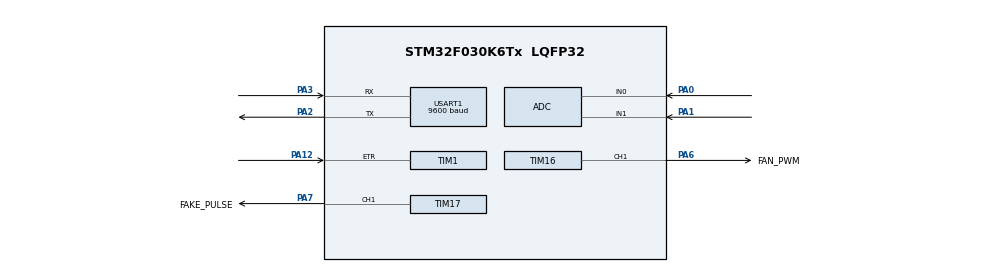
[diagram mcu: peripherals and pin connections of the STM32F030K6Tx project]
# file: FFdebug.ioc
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Mcu.Family=STM32F0
NVIC.TIM14_IRQn=true\:0\:0\:true\:false\:true\:true\:true
TIM17.Prescaler=40
VP_TIM17_VS_ClockSourceINT.Mode=Enable_Timer
Dma.ADC.0.Mode=DMA_CIRCULAR
TIM14.AutoReloadPreload=TIM_AUTORELOAD_PRELOAD_ENABLE
SH.S_TIM1_ETR.0=TIM1_ETR,ClockSourceETR_Mode2
USART1.BaudRate=9600
Dma.ADC.0.Priority=DMA_PRIORITY_LOW
SH.S_TIM16_CH1.0=TIM16_CH1,PWM Generation1 CH1
VP_TIM16_VS_ClockSourceINT.Mode=Enable_Timer
PA6.GPIO_Label=FAN_PWM
TIM16.Channel=TIM_CHANNEL_1
ProjectManager.StackSize=0x400
Dma.ADC.0.PeriphDataAlignment=DMA_PDATAALIGN_HALFWORD
PA7.GPIO_ModeDefaultPP=GPIO_MODE_AF_OD
USART1.VirtualMode-Asynchronous=VM_ASYNC
PA3.Mode=Asynchronous
TIM1.AutoReloadPreload=TIM_AUTORELOAD_PRELOAD_ENABLE
PA12.Signal=S_TIM1_ETR
ProjectManager.TargetToolchain=Makefile
Dma.ADC.0.PeriphInc=DMA_PINC_DISABLE
PA1.Signal=ADC_IN1
Dma.ADC.0.Direction=DMA_PERIPH_TO_MEMORY
ADC.SamplingTime=ADC_SAMPLETIME_239CYCLES_5
ADC.DMAContinuousRequests=ENABLE
board=custom
TIM17.Channel=TIM_CHANNEL_1
TIM14.Period=4000
TIM17.Period=1000-1
TIM16.Period=1000-1
PA1.Mode=IN1
PA0.Mode=IN0
Mcu.Name=STM32F030K6Tx
TIM14.Prescaler=1000 - 1
PA2.Signal=USART1_TX
PA0.Signal=ADC_IN0
ADC.Overrun=ADC_OVR_DATA_OVERWRITTEN
Dma.ADC.0.MemInc=DMA_MINC_ENABLE
Mcu.Package=LQFP32
PA6.Signal=S_TIM16_CH1
PA7.GPIO_Label=FAKE_PULSE
Dma.ADC.0.Instance=DMA1_Channel1
ProjectManager.HeapSize=0x200
SH.S_TIM17_CH1.0=TIM17_CH1,PWM Generation1 CH1
Dma.ADC.0.MemDataAlignment=DMA_MDATAALIGN_HALFWORD
PA2.Mode=Asynchronous
VP_TIM14_VS_ClockSourceINT.Mode=Enable_Timer
NVIC.DMA1_Channel1_IRQn=true\:3\:0\:true\:false\:true\:false\:true
TIM16.Prescaler=320
Dma.Request0=ADC
ADC.ContinuousConvMode=ENABLE
PA3.Signal=USART1_RX
PA7.Signal=S_TIM17_CH1

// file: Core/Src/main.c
/* USER CODE BEGIN Header */
/**
  ******************************************************************************
  * @file           : main.c
  * @brief          : Main program body
  ******************************************************************************
  * @attention
  *
  * <h2><center>&copy; Copyright (c) 2020 STMicroelectronics.
  * All rights reserved.</center></h2>
  *
  * This software component is licensed by ST under BSD 3-Clause license,
  * the "License"; You may not use this file except in compliance with the
  * License. You may obtain a copy of the License at:
  *                        opensource.org/licenses/BSD-3-Clause
  *
  ******************************************************************************
  */
/* USER CODE END Header */
#include "main.h"

/* USER CODE BEGIN Includes */
typedef unsigned char uint8_t;
typedef unsigned short int uint16_t;
typedef unsigned long int uint32_t;
/* USER CODE END Includes */

ADC_HandleTypeDef hadc;
DMA_HandleTypeDef hdma_adc;

TIM_HandleTypeDef htim1;
TIM_HandleTypeDef htim14;
TIM_HandleTypeDef htim16;
TIM_HandleTypeDef htim17;

UART_HandleTypeDef huart1;

void SystemClock_Config(void);
static void MX_GPIO_Init(void);
static void MX_DMA_Init(void);
static void MX_TIM1_Init(void);
static void MX_ADC_Init(void);
static void MX_TIM16_Init(void);
static void MX_TIM17_Init(void);
static void MX_USART1_UART_Init(void);
static void MX_TIM14_Init(void);

/* USER CODE BEGIN 0 */
#define ADC_BUFFER_LENGTH 2
uint16_t g_ADCBuffer[ADC_BUFFER_LENGTH];
/* USER CODE END 0 */

int main(void)
{

  /* MCU Configuration--------------------------------------------------------*/

  /* Reset of all peripherals, Initializes the Flash interface and the Systick. */
  HAL_Init();

  /* Configure the system clock */
  SystemClock_Config();

  /* Initialize all configured peripherals */
  MX_GPIO_Init();
  MX_DMA_Init();
  MX_TIM1_Init();
  MX_ADC_Init();
  MX_TIM16_Init();
  MX_TIM17_Init();
  MX_USART1_UART_Init();
  MX_TIM14_Init();
  /* USER CODE BEGIN 2 */
  // Real Fan RPM
  HAL_TIM_Base_Start(&htim1);
  // 0.05 Sec IT
  HAL_TIM_Base_Start_IT(&htim14);
  // Fake Pulse Output
  HAL_TIM_PWM_Start(&htim17, TIM_CHANNEL_1);
  // Real Fan PWM
  HAL_TIM_PWM_Start(&htim16, TIM_CHANNEL_1);

  // ADC
  // VR in
  g_ADCBuffer[0] = 0;
  // PWM in
  g_ADCBuffer[1] = 0;
  HAL_ADC_Start_DMA(&hadc, g_ADCBuffer, ADC_BUFFER_LENGTH);

  /* USER CODE END 2 */

  /* Infinite loop */
  while (1)
  {

    /* USER CODE BEGIN 3 */
    // uint32_t freq = __HAL_TIM_GET_COUNTER(&htim14);
    // uint8_t gu8_MSG[40] = {'\0'};
    // sprintf(gu8_MSG, "Frequency2 = %d Hz\n\r", freq);
    // HAL_UART_Transmit(&huart1, gu8_MSG, sizeof(gu8_MSG), 100);
    // HAL_Delay(500);
  }
  /* USER CODE END 3 */
}

void SystemClock_Config(void)
{
  RCC_OscInitTypeDef RCC_OscInitStruct = {0};
  RCC_ClkInitTypeDef RCC_ClkInitStruct = {0};
  RCC_PeriphCLKInitTypeDef PeriphClkInit = {0};

  /** Initializes the RCC Oscillators according to the specified parameters
  * in the RCC_OscInitTypeDef structure.
  */
  RCC_OscInitStruct.OscillatorType = RCC_OSCILLATORTYPE_HSI|RCC_OSCILLATORTYPE_HSI14;
  RCC_OscInitStruct.HSIState = RCC_HSI_ON;
  RCC_OscInitStruct.HSI14State = RCC_HSI14_ON;
  RCC_OscInitStruct.HSICalibrationValue = RCC_HSICALIBRATION_DEFAULT;
  RCC_OscInitStruct.HSI14CalibrationValue = 16;
  RCC_OscInitStruct.PLL.PLLState = RCC_PLL_NONE;
  if (HAL_RCC_OscConfig(&RCC_OscInitStruct) != HAL_OK)
  {
    Error_Handler();
  }
  /** Initializes the CPU, AHB and APB buses clocks
  */
  RCC_ClkInitStruct.ClockType = RCC_CLOCKTYPE_HCLK|RCC_CLOCKTYPE_SYSCLK
                              |RCC_CLOCKTYPE_PCLK1;
  RCC_ClkInitStruct.SYSCLKSource = RCC_SYSCLKSOURCE_HSI;
  RCC_ClkInitStruct.AHBCLKDivider = RCC_SYSCLK_DIV1;
  RCC_ClkInitStruct.APB1CLKDivider = RCC_HCLK_DIV1;

  if (HAL_RCC_ClockConfig(&RCC_ClkInitStruct, FLASH_LATENCY_0) != HAL_OK)
  {
    Error_Handler();
  }
  PeriphClkInit.PeriphClockSelection = RCC_PERIPHCLK_USART1;
  PeriphClkInit.Usart1ClockSelection = RCC_USART1CLKSOURCE_PCLK1;
  if (HAL_RCCEx_PeriphCLKConfig(&PeriphClkInit) != HAL_OK)
  {
    Error_Handler();
  }
}

static void MX_ADC_Init(void)
{

  ADC_ChannelConfTypeDef sConfig = {0};

  /** Configure the global features of the ADC (Clock, Resolution, Data Alignment and number of conversion)
  */
  hadc.Instance = ADC1;
  hadc.Init.ClockPrescaler = ADC_CLOCK_ASYNC_DIV1;
  hadc.Init.Resolution = ADC_RESOLUTION_12B;
  hadc.Init.DataAlign = ADC_DATAALIGN_RIGHT;
  hadc.Init.ScanConvMode = ADC_SCAN_DIRECTION_FORWARD;
  hadc.Init.EOCSelection = ADC_EOC_SINGLE_CONV;
  hadc.Init.LowPowerAutoWait = DISABLE;
  hadc.Init.LowPowerAutoPowerOff = DISABLE;
  hadc.Init.ContinuousConvMode = ENABLE;
  hadc.Init.DiscontinuousConvMode = DISABLE;
  hadc.Init.ExternalTrigConv = ADC_SOFTWARE_START;
  hadc.Init.ExternalTrigConvEdge = ADC_EXTERNALTRIGCONVEDGE_NONE;
  hadc.Init.DMAContinuousRequests = ENABLE;
  hadc.Init.Overrun = ADC_OVR_DATA_OVERWRITTEN;
  if (HAL_ADC_Init(&hadc) != HAL_OK)
  {
    Error_Handler();
  }
  /** Configure for the selected ADC regular channel to be converted.
  */
  sConfig.Channel = ADC_CHANNEL_0;
  sConfig.Rank = ADC_RANK_CHANNEL_NUMBER;
  sConfig.SamplingTime = ADC_SAMPLETIME_239CYCLES_5;
  if (HAL_ADC_ConfigChannel(&hadc, &sConfig) != HAL_OK)
  {
    Error_Handler();
  }
  /** Configure for the selected ADC regular channel to be converted.
  */
  sConfig.Channel = ADC_CHANNEL_1;
  if (HAL_ADC_ConfigChannel(&hadc, &sConfig) != HAL_OK)
  {
    Error_Handler();
  }

}

static void MX_TIM1_Init(void)
{

  TIM_ClockConfigTypeDef sClockSourceConfig = {0};
  TIM_MasterConfigTypeDef sMasterConfig = {0};

  htim1.Instance = TIM1;
  htim1.Init.Prescaler = 0;
  htim1.Init.CounterMode = TIM_COUNTERMODE_UP;
  htim1.Init.Period = 65535;
  htim1.Init.ClockDivision = TIM_CLOCKDIVISION_DIV1;
  htim1.Init.RepetitionCounter = 0;
  htim1.Init.AutoReloadPreload = TIM_AUTORELOAD_PRELOAD_ENABLE;
  if (HAL_TIM_Base_Init(&htim1) != HAL_OK)
  {
    Error_Handler();
  }
  sClockSourceConfig.ClockSource = TIM_CLOCKSOURCE_ETRMODE2;
  sClockSourceConfig.ClockPolarity = TIM_CLOCKPOLARITY_NONINVERTED;
  sClockSourceConfig.ClockPrescaler = TIM_CLOCKPRESCALER_DIV1;
  sClockSourceConfig.ClockFilter = 0;
  if (HAL_TIM_ConfigClockSource(&htim1, &sClockSourceConfig) != HAL_OK)
  {
    Error_Handler();
  }
  sMasterConfig.MasterOutputTrigger = TIM_TRGO_RESET;
  sMasterConfig.MasterSlaveMode = TIM_MASTERSLAVEMODE_DISABLE;
  if (HAL_TIMEx_MasterConfigSynchronization(&htim1, &sMasterConfig) != HAL_OK)
  {
    Error_Handler();
  }

}

static void MX_TIM14_Init(void)
{

  htim14.Instance = TIM14;
  htim14.Init.Prescaler = 1000 - 1;
  htim14.Init.CounterMode = TIM_COUNTERMODE_UP;
  htim14.Init.Period = 4000;
  htim14.Init.ClockDivision = TIM_CLOCKDIVISION_DIV1;
  htim14.Init.AutoReloadPreload = TIM_AUTORELOAD_PRELOAD_ENABLE;
  if (HAL_TIM_Base_Init(&htim14) != HAL_OK)
  {
    Error_Handler();
  }

}

static void MX_TIM16_Init(void)
{

  TIM_OC_InitTypeDef sConfigOC = {0};
  TIM_BreakDeadTimeConfigTypeDef sBreakDeadTimeConfig = {0};

  htim16.Instance = TIM16;
  htim16.Init.Prescaler = 320;
  htim16.Init.CounterMode = TIM_COUNTERMODE_UP;
  htim16.Init.Period = 1000-1;
  htim16.Init.ClockDivision = TIM_CLOCKDIVISION_DIV1;
  htim16.Init.RepetitionCounter = 0;
  htim16.Init.AutoReloadPreload = TIM_AUTORELOAD_PRELOAD_DISABLE;
  if (HAL_TIM_Base_Init(&htim16) != HAL_OK)
  {
    Error_Handler();
  }
  if (HAL_TIM_PWM_Init(&htim16) != HAL_OK)
  {
    Error_Handler();
  }
  sConfigOC.OCMode = TIM_OCMODE_PWM1;
  sConfigOC.Pulse = 0;
  sConfigOC.OCPolarity = TIM_OCPOLARITY_HIGH;
  sConfigOC.OCNPolarity = TIM_OCNPOLARITY_HIGH;
  sConfigOC.OCFastMode = TIM_OCFAST_DISABLE;
  sConfigOC.OCIdleState = TIM_OCIDLESTATE_RESET;
  sConfigOC.OCNIdleState = TIM_OCNIDLESTATE_RESET;
  if (HAL_TIM_PWM_ConfigChannel(&htim16, &sConfigOC, TIM_CHANNEL_1) != HAL_OK)
  {
    Error_Handler();
  }
  sBreakDeadTimeConfig.OffStateRunMode = TIM_OSSR_DISABLE;
  sBreakDeadTimeConfig.OffStateIDLEMode = TIM_OSSI_DISABLE;
  sBreakDeadTimeConfig.LockLevel = TIM_LOCKLEVEL_OFF;
  sBreakDeadTimeConfig.DeadTime = 0;
  sBreakDeadTimeConfig.BreakState = TIM_BREAK_DISABLE;
  sBreakDeadTimeConfig.BreakPolarity = TIM_BREAKPOLARITY_HIGH;
  sBreakDeadTimeConfig.AutomaticOutput = TIM_AUTOMATICOUTPUT_DISABLE;
  if (HAL_TIMEx_ConfigBreakDeadTime(&htim16, &sBreakDeadTimeConfig) != HAL_OK)
  {
    Error_Handler();
  }
  HAL_TIM_MspPostInit(&htim16);

}

static void MX_TIM17_Init(void)
{

  TIM_OC_InitTypeDef sConfigOC = {0};
  TIM_BreakDeadTimeConfigTypeDef sBreakDeadTimeConfig = {0};

  htim17.Instance = TIM17;
  htim17.Init.Prescaler = 40;
  htim17.Init.CounterMode = TIM_COUNTERMODE_UP;
  htim17.Init.Period = 1000-1;
  htim17.Init.ClockDivision = TIM_CLOCKDIVISION_DIV1;
  htim17.Init.RepetitionCounter = 0;
  htim17.Init.AutoReloadPreload = TIM_AUTORELOAD_PRELOAD_DISABLE;
  if (HAL_TIM_Base_Init(&htim17) != HAL_OK)
  {
    Error_Handler();
  }
  if (HAL_TIM_PWM_Init(&htim17) != HAL_OK)
  {
    Error_Handler();
  }
  sConfigOC.OCMode = TIM_OCMODE_PWM1;
  sConfigOC.Pulse = 0;
  sConfigOC.OCPolarity = TIM_OCPOLARITY_HIGH;
  sConfigOC.OCNPolarity = TIM_OCNPOLARITY_HIGH;
  sConfigOC.OCFastMode = TIM_OCFAST_DISABLE;
  sConfigOC.OCIdleState = TIM_OCIDLESTATE_RESET;
  sConfigOC.OCNIdleState = TIM_OCNIDLESTATE_RESET;
  if (HAL_TIM_PWM_ConfigChannel(&htim17, &sConfigOC, TIM_CHANNEL_1) != HAL_OK)
  {
    Error_Handler();
  }
  sBreakDeadTimeConfig.OffStateRunMode = TIM_OSSR_DISABLE;
  sBreakDeadTimeConfig.OffStateIDLEMode = TIM_OSSI_DISABLE;
  sBreakDeadTimeConfig.LockLevel = TIM_LOCKLEVEL_OFF;
  sBreakDeadTimeConfig.DeadTime = 0;
  sBreakDeadTimeConfig.BreakState = TIM_BREAK_DISABLE;
  sBreakDeadTimeConfig.BreakPolarity = TIM_BREAKPOLARITY_HIGH;
  sBreakDeadTimeConfig.AutomaticOutput = TIM_AUTOMATICOUTPUT_DISABLE;
  if (HAL_TIMEx_ConfigBreakDeadTime(&htim17, &sBreakDeadTimeConfig) != HAL_OK)
  {
    Error_Handler();
  }
  HAL_TIM_MspPostInit(&htim17);

}

static void MX_USART1_UART_Init(void)
{

  huart1.Instance = USART1;
  huart1.Init.BaudRate = 9600;
  huart1.Init.WordLength = UART_WORDLENGTH_8B;
  huart1.Init.StopBits = UART_STOPBITS_1;
  huart1.Init.Parity = UART_PARITY_NONE;
  huart1.Init.Mode = UART_MODE_TX_RX;
  huart1.Init.HwFlowCtl = UART_HWCONTROL_NONE;
  huart1.Init.OverSampling = UART_OVERSAMPLING_16;
  huart1.Init.OneBitSampling = UART_ONE_BIT_SAMPLE_DISABLE;
  huart1.AdvancedInit.AdvFeatureInit = UART_ADVFEATURE_NO_INIT;
  if (HAL_UART_Init(&huart1) != HAL_OK)
  {
    Error_Handler();
  }

}

static void MX_DMA_Init(void)
{

  /* DMA controller clock enable */
  __HAL_RCC_DMA1_CLK_ENABLE();

  /* DMA interrupt init */
  /* DMA1_Channel1_IRQn interrupt configuration */
  HAL_NVIC_SetPriority(DMA1_Channel1_IRQn, 3, 0);
  HAL_NVIC_EnableIRQ(DMA1_Channel1_IRQn);

}

static void MX_GPIO_Init(void)
{

  /* GPIO Ports Clock Enable */
  __HAL_RCC_GPIOA_CLK_ENABLE();

}

/* USER CODE BEGIN 4 */
uint16_t oldvalVR = 0;
uint16_t oldvalPWM = 0;
int EnableFakeFan = 1;

// 1000 = MAXRPM
void setFakePWM(int rpm){
  uint16_t MAXRPM = 12000;
  uint16_t TargetRPM = MAXRPM * rpm / 1000;
  uint16_t period = 8 * 1000 * 1000 / htim17.Init.Prescaler / TargetRPM * 60 / 2;
  __HAL_TIM_SET_AUTORELOAD(&htim17, period - 1);
  __HAL_TIM_SET_COMPARE(&htim17, TIM_CHANNEL_1, period/2);
}

void HAL_TIM_PeriodElapsedCallback(TIM_HandleTypeDef* htim)
{
    if (htim->Instance == TIM14) {
      // 0.5 second
      // 1 rotate 2 pulese
    	uint32_t rpm = __HAL_TIM_GET_COUNTER(&htim1) * 2 / 2 * 60;
      uint8_t gu8_MSG[40] = {'\0'};
    	sprintf(gu8_MSG, "FanRPM = %d \n\r", rpm);
    	HAL_UART_Transmit(&huart1, gu8_MSG, sizeof(gu8_MSG), 100);

      // Fan Lower Limit
      if(rpm < 200){
        EnableFakeFan = 0;
        // Fire Fan Failure to Host
        setFakePWM(10);
      }else{
        oldvalPWM -= 10;
        EnableFakeFan = 1;
      }
    	__HAL_TIM_SET_COUNTER(&htim1, 0);
    }
}

void HAL_ADC_ConvCpltCallback(ADC_HandleTypeDef* AdcHandle)
{
  // Read VR
	 uint16_t valVR = g_ADCBuffer[0]*1000/4096;
	 uint16_t absVR = valVR >= oldvalVR ? valVR - oldvalVR : oldvalVR - valVR;
	 if( absVR >= 10 ){
    oldvalVR = valVR;
    __HAL_TIM_SET_COMPARE(&htim16, TIM_CHANNEL_1, valVR);
      uint8_t gu8_MSG[40] = {'\0'};
    	sprintf(gu8_MSG, "valVR = %d /1000\n\r", valVR);
    	HAL_UART_Transmit(&huart1, gu8_MSG, sizeof(gu8_MSG), 100);
	 }

  // Read PWM
	 uint16_t valPWM = g_ADCBuffer[1] * 1000 * 5 / 3.3 /4096;
	 uint16_t absPWM = valPWM >= oldvalPWM ? valPWM - oldvalPWM : oldvalPWM - valPWM;
	 if( absPWM >= 10 && EnableFakeFan == 1){
		  oldvalPWM = valPWM;
    // period = TIM_CLOCK / PSC / (TargetRPM / 60 * 2);
      setFakePWM(valPWM);
	 }
}
/* USER CODE END 4 */

void Error_Handler(void)
{
}

/************************ (C) COPYRIGHT STMicroelectronics *****END OF FILE****/
